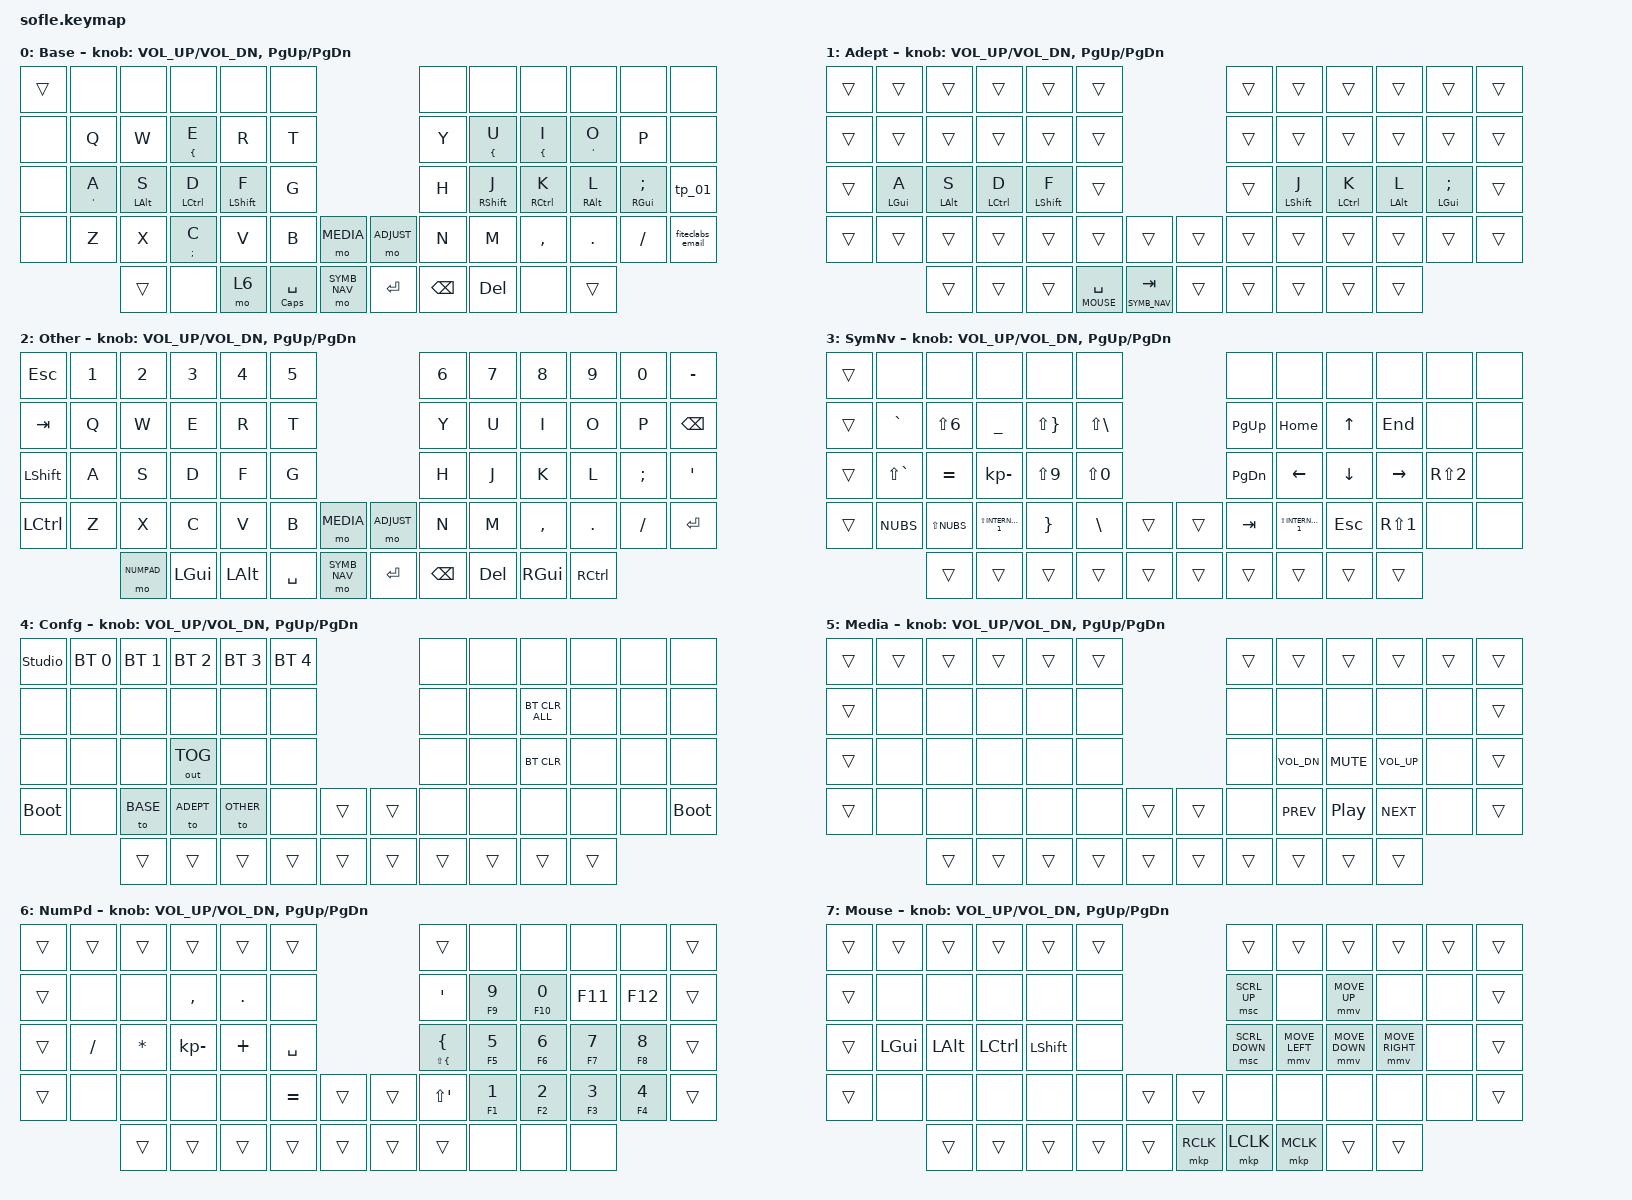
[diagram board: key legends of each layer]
/*
 * Copyright (c) 2020 The ZMK Contributors
 *
 * SPDX-License-Identifier: MIT
 */

#include <behaviors.dtsi>
#include <dt-bindings/zmk/bt.h>
#include <dt-bindings/zmk/keys.h>
#include <dt-bindings/zmk/outputs.h>
#include <dt-bindings/zmk/pointing.h>

// Enumera as camadas do teclado

#define BASE 0
#define ADEPT 1
#define OTHER 2
#define SYMB_NAV 3
#define ADJUST 4
#define MEDIA 5
#define NUMPAD 6
#define MOUSE 7

// ABNT2 keycodes
// Mapeamento de teclas ABNT2 que são usados para o layout brasileiro
// Inspired by https://github.com/qmk/qmk_firmware/blob/master/quantum/keymap_extras/keymap_brazilian_abnt2.h

#define BR_SLSH INT1
#define BR_ACUT LBKT
#define BR_RBKT NUHS
#define BR_RBCT LS(NUHS)
#define BR_LBKT RBKT
#define BR_LBCT LS(RBKT)

// Abaixo, há especificações do comportamento do tap-hold para teclas com duplo comportamento
// Para mais detalhes: https://zmk.dev/docs/keymaps/behaviors/hold-tap

#define TAPPING_TERM 300 // Tempo em milissegundos para diferenciar o tap-hold

// Para teclas com tap-hold em que o hold é um modificador, como CTRL, ALT, etc

&mt {
    tapping-term-ms = <TAPPING_TERM>;
    quick-tap-ms = <TAPPING_TERM>;
    flavor = "balanced"; // Pode ser "balanced", "hold-preferred" ou "tap-preferred"
};

// Para teclas com tap-hold em que o hold é uma mudança de camada, como SYMB_NAV, MEDIA, etc

&lt {
    tapping-term-ms = <TAPPING_TERM>;
    quick-tap-ms = <TAPPING_TERM>;
    flavor = "balanced"; // Pode ser "balanced", "hold-preferred" ou "tap-preferred"
};

// Combos do teclado

/ {
    combos {
        compatible = "zmk,combos";

        combo_dongle_bootloader {
            // Faz o dongle entrar em modo de bootloader, para gravacao do firmware

            timeout-ms = <30>; // Tempo de tolerancia para apertar as teclas ao mesmo tempo
            key-positions = <50 51 58 59>; // 2 primeiras e 2 ultimas teclas da linha de teclas mais abaixo do teclado
            bindings = <&bootloader>; // Tecla a ser simulada ao apertar a combinação acima
        };

        combo_unlock_zmk_studio {
            // Desbloqueia o ZMK Studio

            timeout-ms = <30>; // Tempo de tolerancia para apertar as teclas ao mesmo tempo
            key-positions = <50 59>; // primeira e última teclas da linha de teclas mais abaixo do teclado
            bindings = <&studio_unlock>; // Tecla a ser simulada ao apertar a combinação acima
        };
    };
};

// Mapeamento de teclas e camadas do teclado

/ {
    macros {
        fiteclabs_email: fiteclabs_email {
            compatible = "zmk,behavior-macro";
            #binding-cells = <0>;
            bindings = <&kp M &kp A &kp U &kp R &kp I &kp C &kp I &kp O &kp O &kp L &kp I &kp V &kp E &kp I &kp R &kp A &kp AT &kp F &kp I &kp T &kp E &kp C &kp L &kp A &kp B &kp S &kp DOT &kp O &kp R &kp G &kp DOT &kp B &kp R &none>;
            label = "FITECLABS_EMAIL";
            tap-ms = <40>;
        };
    };

    behaviors {
        tp_01: tp_01 {
            compatible = "zmk,behavior-tap-dance";
            label = "TP_01";
            #binding-cells = <0>;
            bindings = <&kp KP_NUMBER_0>, <&kp KP_NUMBER_1>;
        };
    };

    keymap {
        compatible = "zmk,keymap";

        // Uma cópia genérica do template de camada, que pode ser usada para criar novas camadas
        //        name_layer {
        //            display-name = "name";
        //            bindings = <
        //&trans    &trans    &trans    &trans      &trans    &trans                        &trans    &trans   &trans    &trans    &trans   &trans
        //&trans    &none     &none     &none       &none     &none                         &none     &none    &none     &none     &none    &trans
        //&trans    &none     &none     &none       &none     &none                         &none     &none    &none     &none     &none    &trans
        //&trans    &none     &none     &none       &none     &none      &trans    &trans   &none     &none    &none     &none     &none    &trans
        //                    &trans    &trans      &trans    &trans     &trans    &trans   &trans    &trans   &trans    &trans
        //            >;
        //
        //            sensor-bindings = <&inc_dec_kp C_VOL_UP C_VOL_DN &inc_dec_kp PG_UP PG_DN>; // Para o knob (encoder)
        //        };

        base_layer {
            display-name = "Base";
            bindings = <
&trans  &none       &none           &none               &none             &none                                       &none     &none              &none             &none            &none                    &none
&none   &kp Q       &kp W           &mt LEFT_BRACE E    &kp R             &kp T                                       &kp Y     &mt LEFT_BRACE U   &mt LEFT_BRACE I  &mt APOS O       &kp P                    &none
&none   &mt APOS A  &mt LEFT_ALT S  &mt LEFT_CONTROL D  &mt LEFT_SHIFT F  &kp G                                       &kp H     &mt RIGHT_SHIFT J  &mt RCTRL K       &mt RIGHT_ALT L  &mt RIGHT_GUI SEMICOLON  &tp_01
&none   &kp Z       &kp X           &mt SEMICOLON C     &kp V             &kp B           &mo MEDIA       &mo ADJUST  &kp N     &kp M              &kp COMMA         &kp DOT          &kp FSLH                 &fiteclabs_email
                    &trans          &none               &mo 6             &mt CAPS SPACE  &mo SYMB_NAV    &kp ENTER   &kp BSPC  &kp DEL            &none             &trans
            >;

            sensor-bindings = <&inc_dec_kp C_VOL_UP C_VOL_DN &inc_dec_kp PG_UP PG_DN>;
        };

        adept_layer {
            display-name = "Adept";
            bindings = <
&trans  &trans      &trans      &trans       &trans       &trans                                       &trans  &trans       &trans       &trans      &trans         &trans
&trans  &trans      &trans      &trans       &trans       &trans                                       &trans  &trans       &trans       &trans      &trans         &trans
&trans  &mt LGUI A  &mt LALT S  &mt LCTRL D  &mt LSHFT F  &trans                                       &trans  &mt LSHFT J  &mt LCTRL K  &mt LALT L  &mt LGUI SEMI  &trans
&trans  &trans      &trans      &trans       &trans       &trans           &trans              &trans  &trans  &trans       &trans       &trans      &trans         &trans
                    &trans      &trans       &trans       &lt MOUSE SPACE  &lt SYMB_NAV TAB    &trans  &trans  &trans       &trans       &trans
            >;

            sensor-bindings = <&inc_dec_kp C_VOL_UP C_VOL_DN &inc_dec_kp PG_UP PG_DN>;
        };

        // By defaults its equal to base_layer. To be customized by user.

        other_layer {
            display-name = "Other";
            bindings = <
&kp ESC    &kp N1  &kp N2      &kp N3    &kp N4    &kp N5                                 &kp N6    &kp N7   &kp N8     &kp N9     &kp N0    &kp MINUS
&kp TAB    &kp Q   &kp W       &kp E     &kp R     &kp T                                  &kp Y     &kp U    &kp I      &kp O      &kp P     &kp BSPC
&kp LSHFT  &kp A   &kp S       &kp D     &kp F     &kp G                                  &kp H     &kp J    &kp K      &kp L      &kp SEMI  &kp SQT
&kp LCTRL  &kp Z   &kp X       &kp C     &kp V     &kp B      &mo MEDIA       &mo ADJUST  &kp N     &kp M    &kp COMMA  &kp DOT    &kp FSLH  &kp ENTER
                   &mo NUMPAD  &kp LGUI  &kp LALT  &kp SPACE  &mo SYMB_NAV    &kp ENTER   &kp BSPC  &kp DEL  &kp RGUI   &kp RCTRL
            >;

            sensor-bindings = <&inc_dec_kp C_VOL_UP C_VOL_DN &inc_dec_kp PG_UP PG_DN>;
        };

        symb_nav_layer {
            display-name = "SymNv";
            bindings = <
&trans  &none          &none         &none                    &none                &none                                &none      &none                    &none     &none             &none             &none
&trans  &kp GRAVE      &kp LS(N6)    &kp UNDERSCORE           &kp LS(RIGHT_BRACE)  &kp LS(BACKSLASH)                    &kp PG_UP  &kp HOME                 &kp UP    &kp END           &none             &none
&trans  &kp LS(GRAVE)  &kp EQUAL     &kp KP_MINUS             &kp LS(NUMBER_9)     &kp LS(N0)                           &kp PG_DN  &kp LEFT                 &kp DOWN  &kp RIGHT         &kp RS(NUMBER_2)  &none
&trans  &kp NUBS       &kp LS(NUBS)  &kp LS(INTERNATIONAL_1)  &kp RIGHT_BRACE      &kp BACKSLASH      &trans    &trans  &kp TAB    &kp LS(INTERNATIONAL_1)  &kp ESC   &kp RS(NUMBER_1)  &none             &none
                       &trans        &trans                   &trans               &trans             &trans    &trans  &trans     &trans                   &trans    &trans
            >;

            sensor-bindings = <&inc_dec_kp C_VOL_UP C_VOL_DN &inc_dec_kp PG_UP PG_DN>;
        };

        adjust_layer {
            display-name = "Confg";
            bindings = <
&studio_unlock  &bt BT_SEL 0  &bt BT_SEL 1  &bt BT_SEL 2  &bt BT_SEL 3  &bt BT_SEL 4                    &none   &none   &none           &none   &none  &none
&none           &none         &none         &none         &none         &none                           &none   &none   &bt BT_CLR_ALL  &none   &none  &none
&none           &none         &none         &out OUT_TOG  &none         &none                           &none   &none   &bt BT_CLR      &none   &none  &none
&bootloader     &none         &to BASE      &to ADEPT     &to OTHER     &none         &trans    &trans  &none   &none   &none           &none   &none  &bootloader
                              &trans        &trans        &trans        &trans        &trans    &trans  &trans  &trans  &trans          &trans
            >;

            sensor-bindings = <&inc_dec_kp C_VOL_UP C_VOL_DN &inc_dec_kp PG_UP PG_DN>;
        };

        media_layer {
            display-name = "Media";
            bindings = <
&trans  &trans  &trans  &trans  &trans  &trans                    &trans  &trans        &trans      &trans        &trans  &trans
&trans  &none   &none   &none   &none   &none                     &none   &none         &none       &none         &none   &trans
&trans  &none   &none   &none   &none   &none                     &none   &kp C_VOL_DN  &kp C_MUTE  &kp C_VOL_UP  &none   &trans
&trans  &none   &none   &none   &none   &none   &trans    &trans  &none   &kp C_PREV    &kp C_PP    &kp C_NEXT    &none   &trans
                &trans  &trans  &trans  &trans  &trans    &trans  &trans  &trans        &trans      &trans
            >;

            sensor-bindings = <&inc_dec_kp C_VOL_UP C_VOL_DN &inc_dec_kp PG_UP PG_DN>;
        };

        numpad_layer {
            display-name = "NumPd";
            bindings = <
&trans  &trans     &trans    &trans        &trans      &trans                       &trans                         &none            &none            &none            &none            &trans
&trans  &none      &none     &kp COMMA     &kp PERIOD  &none                        &kp APOS                       &mt F9 N9        &mt F10 N0       &kp F11          &kp F12          &trans
&trans  &kp SLASH  &kp STAR  &kp KP_MINUS  &kp PLUS    &kp SPACE                    &mt LS(LEFT_BRACE) LEFT_BRACE  &mt F5 N5        &mt F6 NUMBER_6  &mt F7 N7        &mt F8 N8        &trans
&trans  &none      &none     &none         &none       &kp EQUAL  &trans    &trans  &kp LS(APOS)                   &mt F1 NUMBER_1  &mt F2 NUMBER_2  &mt F3 NUMBER_3  &mt F4 NUMBER_4  &trans
                   &trans    &trans        &trans      &trans     &trans    &trans  &trans                         &none            &none            &none
            >;

            sensor-bindings = <&inc_dec_kp C_VOL_UP C_VOL_DN &inc_dec_kp PG_UP PG_DN>;
        };

        mouse_layer {
            display-name = "Mouse";
            bindings = <
&trans  &trans    &trans    &trans     &trans     &trans                       &trans          &trans          &trans          &trans           &trans  &trans
&trans  &none     &none     &none      &none      &none                        &msc SCRL_UP    &none           &mmv MOVE_UP    &none            &none   &trans
&trans  &kp LGUI  &kp LALT  &kp LCTRL  &kp LSHFT  &none                        &msc SCRL_DOWN  &mmv MOVE_LEFT  &mmv MOVE_DOWN  &mmv MOVE_RIGHT  &none   &trans
&trans  &none     &none     &none      &none      &none   &trans    &trans     &none           &none           &none           &none            &none   &trans
                  &trans    &trans     &trans     &trans  &trans    &mkp RCLK  &mkp LCLK       &mkp MCLK       &trans          &trans
            >;

            sensor-bindings = <&inc_dec_kp C_VOL_UP C_VOL_DN &inc_dec_kp PG_UP PG_DN>;
        };

        // Extra layers, so it can be added and customized in ZMK Studio

        extra1 { status = "reserved"; };

        extra2 { status = "reserved"; };

        extra3 { status = "reserved"; };

        extra4 { status = "reserved"; };

        extra5 { status = "reserved"; };

        extra6 { status = "reserved"; };

        extra7 { status = "reserved"; };

        extra8 { status = "reserved"; };
    };
};
